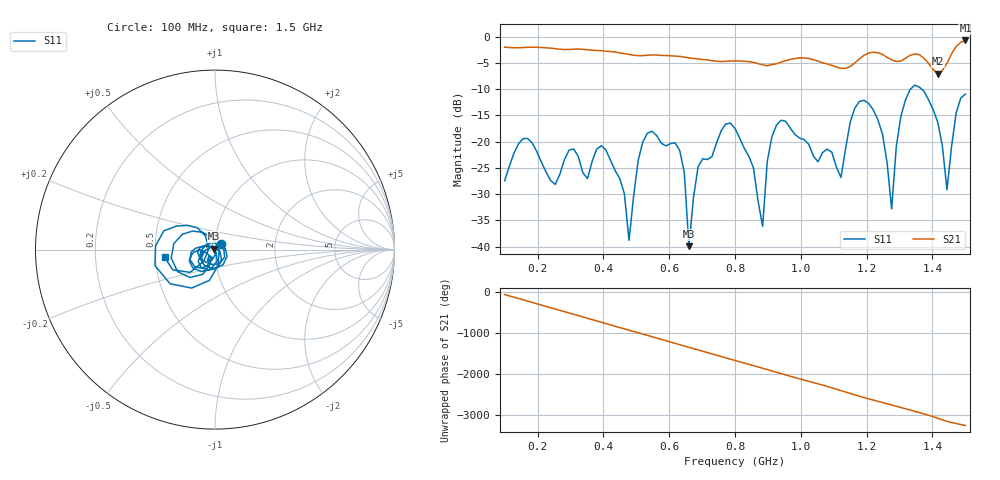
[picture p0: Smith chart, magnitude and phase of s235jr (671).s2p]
! NanoVNA-App
! Date: 2025-09-25 15:09:23
! Start: 100MHz Stop: 1,5GHz Points: 101
! S-Parameter data: F S11 S21 S12 S22
# Hz S RI R 50
!  Frequency  S11_Real  S11_Imag  S21_Real  S21_Imag  S12_Real  S12_Imag  S22_Real  S22_Imag
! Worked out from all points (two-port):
!   101 points, 100 MHz to 1.5 GHz, reference 50 ohm
!   highest |S21| = -0.69 dB at 1.5 GHz (marker M1); lowest = -7.0 dB at 1.416 GHz (marker M2)
!   |S21| within 3 dB of the highest: start of sweep to 622.9 MHz; 1.189 GHz to 1.257 GHz (67.96 MHz wide, 5.56 % of centre) (the widest 2 of 4)
!   lowest |S11| = -39.9 dB at 660 MHz (marker M3), VSWR 1.02, Z = 49.2 + j0.572 ohm
!   |S11| at or under -10 dB: start of sweep to 1.333 GHz; 1.368 GHz to end of sweep
!   S12 and S22 are empty: the file has one direction only
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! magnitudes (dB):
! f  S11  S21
! 100 MHz  -27.5  -2.0
! 156 MHz  -19.4  -2.0
! 338 MHz  -26.0  -2.4
! 408 MHz  -21.6  -2.7
! 478 MHz  -38.8  -3.4
! 520 MHz  -20.0  -3.6
! 576 MHz  -20.3  -3.5
! 632 MHz  -21.7  -3.7
! 660 MHz  -39.9  -4.0
! 688 MHz  -24.7  -4.2
! 800 MHz  -17.5  -4.6
! 884 MHz  -36.1  -5.3
! 926 MHz  -16.8  -5.1
! 1.038 GHz  -22.7  -4.4
! 1.122 GHz  -26.8  -6.0
! 1.206 GHz  -12.7  -3.1
! 1.276 GHz  -32.8  -4.4
! 1.304 GHz  -15.2  -4.6
! 1.332 GHz  -10.1  -3.5
! 1.416 GHz  -16.3  -7.0
! 1.444 GHz  -29.2  -5.0
! 1.5 GHz  -10.9  -0.7
